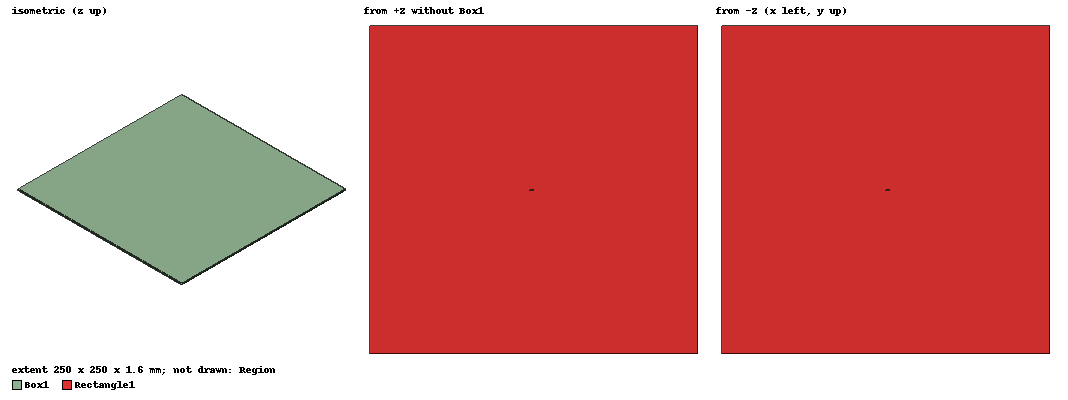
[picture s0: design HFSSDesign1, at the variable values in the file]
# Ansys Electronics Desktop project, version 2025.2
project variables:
  $f0 = 866.5MHz
  $er = 4.4
  $h = 1.6mm
  $t = 0.035mm
  $w = 105.3mm
  $l = 82.3mm
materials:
  vacuum: permittivity=1
  FR4_epoxy: permittivity=4.4 dielectric_loss_tangent=0.02

design HFSSDesign1 (HFSS, HFSS Terminal Network, model units mm)
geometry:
  Box1 [FR4_epoxy] = box(corner=(-125mm, -125mm, 0mm), size=(250mm, 250mm, 1.6mm))
  Rectangle1 = rectangle(corner=(-125mm, -125mm, 0mm), x_size=250mm, y_size=250mm)
  Rectangle2 = rectangle(corner=(0mm, 0mm, 0mm), x_size=-3.4mm, y_size=-0.4mm)
  Rectangle3 = rectangle(corner=(0mm, 0mm, 1.6mm), x_size=0.6mm, y_size=0.2mm)
  Region [vacuum] = region(percentage_offset=0 on all sides)
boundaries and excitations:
  Rad1: Radiation Objects=Region
  1: Lumped Port Objects=Rectangle3 LumpedPortType=Modal Modes{Mode1{IntLine{(0, 0, 1.6) -> (0.6, 0, 1.6)} CharImp=Zpi}} Impedance=50ohm
  2: Lumped Port Objects=Rectangle1 LumpedPortType=Modal Modes{Mode1{IntLine{(-30000mm, -10000mm, 0mm) -> (14000mm, 6000mm, 0mm)} CharImp=Zpi}} Impedance=50ohm
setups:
  Setup1: HfssDrivenAuto AutoSolverSetting=Balanced SaveAnyFields=false Type=Interpolating
    sweep Sweep: 0.85GHz to 0.89GHz, 201 points;
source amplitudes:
  1:1: 1V 0deg
  2:1: 0V 0deg
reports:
  Terminal S Parameter Plot1: dB(St(1,1)) vs Freq on Setup1 : Sweep
  Terminal S Parameter Plot2: dB(St(1,1)) vs Freq on Setup1 : Sweep
  Terminal S Parameter Plot3: dB(St(1,1)) vs Freq on Setup1 : Sweep
  Terminal S Parameter Plot4: dB(St(1,1)) vs Freq on Setup1 : Sweep
  Terminal S Parameter Plot5: dB(St(1,1)) vs Freq on Setup1 : Sweep
  Terminal S Parameter Plot6: dB(St(1,1)) vs Freq on Setup1 : Sweep
  Terminal S Parameter Plot7: dB(St(1,1)) vs Freq on Setup1 : Sweep
  Terminal S Parameter Plot8: dB(St(1,1)) vs Freq on Setup1 : Sweep
